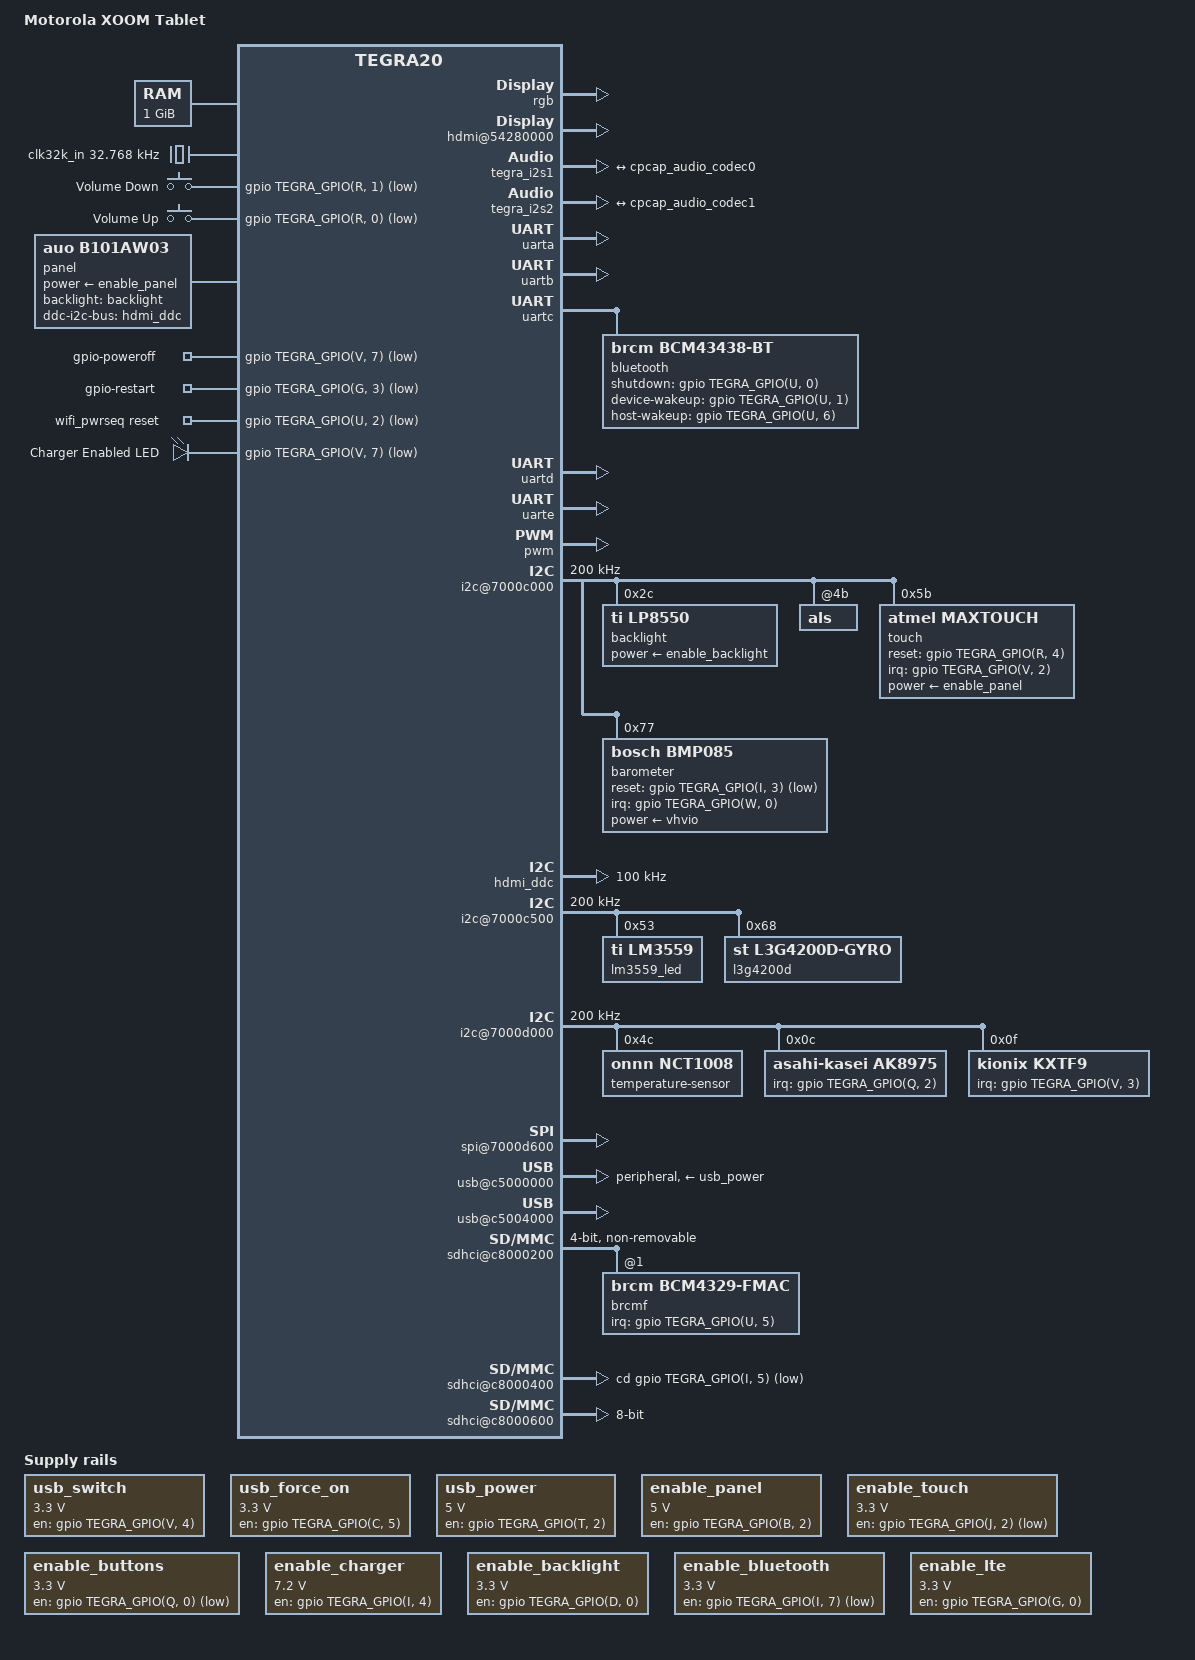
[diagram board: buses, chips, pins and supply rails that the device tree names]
// SPDX-License-Identifier: GPL-2.0
/dts-v1/;

#include <dt-bindings/input/input.h>
#include "tegra20.dtsi"
#include "tegra20-xoom-pinmux.dtsi"
#include "tegra20-xoom-cpcap.dtsi"

/ {
	model = "Motorola XOOM Tablet";
	compatible = "nvidia,xoom", "nvidia,tegra20";

	aliases {
		rtc0 = &cpcap_rtc;
		rtc1 = "/rtc@7000e000";
		serial0 = &uartb; /* DEBUG PORT? */
		serial1 = &uartc; /* Bluetooth */
		serial2 = &uarta;
		serial3 = &uartd;
		serial4 = &uarte;
	};

	chosen {
		stdout-path = "serial0:115200n8";
		bootargs = "earlyprintk=vga gpt gpt_sector=0x03b6efff console=tty0 root=/dev/mmcblk2p10 rootwait video=1280x800@60";
	};

	memory@0 {
		device_type = "memory";
		reg = <0x00000000 0x40000000>;
	};

	host1x@50000000 {

		dc@54200000 {
			rgb {
				status = "okay";
				nvidia,panel = <&panel>;
			};
		};

		hdmi@54280000 {
			status = "okay";

//			hdmi-supply = <&vdd_5v0_hdmi>;
//			vdd-supply = <&hdmi_vdd_reg>;
//			pll-supply = <&hdmi_pll_reg>;
//			nvidia,ddc-i2c-bus = <&hdmi_ddc>;
//			nvidia,hpd-gpio = <&gpio TEGRA_GPIO(N, 7) GPIO_ACTIVE_HIGH>;
		};
	};

	pinmux@70000014 {
		pinctrl-names = "default";
		pinctrl-0 = <&state_default>;

		state_default: pinmux {
			/* Pinmux Defaults are in the DTSI */
		};

		sdmmc3_default: pinmux {
			drive_sdmmc3 {
				nvidia,pins = "drive_sdmmc3";
			};
		};

		spi2_default: pinmux {
			spia {
				nvidia,pins = "spia";
			};

			spib {
				nvidia,pins = "spib";
			};

			spic {
				nvidia,pins = "spic";
			};

			spig {
				nvidia,pins = "spig";
			};
		};
	};

	tegra_ac97: ac97@70002000 {
		status = "okay";
	};

	tegra_i2s1: i2s@70002800 {
		status = "okay";

		mcbsp1_port: port {
			cpu_dai1: endpoint {
				dai-format = "i2s";
				remote-endpoint = <&cpcap_audio_codec0>;
				frame-master = <&cpcap_audio_codec0>;
				bitclock-master = <&cpcap_audio_codec0>;
			};
		};
	};

	tegra_i2s2: i2s@70002a00 {
		status = "okay";

		mcbsp2_port: port {
			cpu_dai2: endpoint {
				dai-format = "i2s";
				remote-endpoint = <&cpcap_audio_codec1>;
				frame-master = <&cpcap_audio_codec1>;
				bitclock-master = <&cpcap_audio_codec1>;
			};
		};
	};

	uarta: serial@70006000 {
		compatible = "nvidia,tegra20-hsuart";
		status = "okay";
	};

	uartb: serial@70006040 {
		/* This is the debug UART, wherever it is */
		compatible = "nvidia,tegra20-hsuart";
		status = "okay";
	};

	uartc: serial@70006200 {
		/* This is the bluetooth UART */
		compatible = "nvidia,tegra20-hsuart";
		status = "okay";
		bluetooth {
			compatible = "brcm,bcm43438-bt";
			shutdown-gpios = <&gpio TEGRA_GPIO(U, 0) GPIO_ACTIVE_HIGH>;
			device-wakeup-gpios = <&gpio TEGRA_GPIO(U, 1) GPIO_ACTIVE_HIGH>;
			host-wakeup-gpios = <&gpio TEGRA_GPIO(U, 6) GPIO_ACTIVE_HIGH>;
		};
	};

	uartd: serial@70006300 {
		compatible = "nvidia,tegra20-hsuart";
		status = "okay";
	};

	uarte: serial@70006400 {
		compatible = "nvidia,tegra20-hsuart";
		status = "okay";
	};

	pwm: pwm@7000a000 {
		status = "okay";
	};

	i2c@7000c000 {
		status = "okay";
		clock-frequency = <200000>;

		backlight: backlight@2c {
			compatible = "ti,lp8550";
			reg = <0x2c>;
			power-supply = <&enable_backlight>;

			bl-name = "backlight";
			dev-ctrl = /bits/ 8 <0x05>;
			init-brt = /bits/ 8 <0x50>;
			/* Current */
                        rom_a0h {
                                rom-addr = /bits/ 8 <0xa0>;
                                rom-val = /bits/ 8 <0xa1>;
                        };
			/* Boost Freq, En_pwm, I_ctrl, Temp_limit, Slope */
                        rom_a1h {
                                rom-addr = /bits/ 8 <0xa1>;
                                rom-val = /bits/ 8 <0x67>;
                        };
			/* Adaptive Speed */
                        rom_a2h {
                                rom-addr = /bits/ 8 <0xa2>;
                                rom-val = /bits/ 8 <0xbf>;
                        };
			/* UVLO */
                        rom_a3h {
                                rom-addr = /bits/ 8 <0xa3>;
                                rom-val = /bits/ 8 <0x3f>;
                        };
			/* PWM_Resolution */
                        rom_a4h {
                                rom-addr = /bits/ 8 <0xa4>;
                                rom-val = /bits/ 8 <0x08>;
                        };
			/* En_Vsync */
                        rom_a5h {
                                rom-addr = /bits/ 8 <0xa5>;
                                rom-val = /bits/ 8 <0xea>;
                        };
			/* PLL */
                        rom_a6h {
                                rom-addr = /bits/ 8 <0xa6>;
                                rom-val = /bits/ 8 <0x64>;
                        };
			/* PLL */
                        rom_a7h {
                                rom-addr = /bits/ 8 <0xa7>;
                                rom-val = /bits/ 8 <0x2a>;
                        };
		};

		als@4b {
			/*max9635 ALS, noted just for location */
//			reg = <0x4b>;
//			interrupts = <&gpio TEGRA_GPIO(V, 1) IRQ_TYPE_LEVEL_LOW>;
//			power-supply = <&vhvio>;
		};

		touch@5b {
			compatible = "atmel,maxtouch";
			reg = <0x5b>;
			interrupt-parent = <&gpio>;
			interrupts = <TEGRA_GPIO(V, 2) IRQ_TYPE_LEVEL_LOW>;
			reset-gpios = <&gpio TEGRA_GPIO(R, 4) GPIO_ACTIVE_HIGH>;
			power-supply = /* <&enable_touch>, */
					<&enable_panel>;
		};

		barometer@77 {
			/* BMP085 Barometer */
			compatible = "bosch,bmp085";
			reg = <0x77>;
			reset-gpios = <&gpio TEGRA_GPIO(I, 3) GPIO_ACTIVE_LOW>;
			interrupt-parent = <&gpio>;
			interrupts = <TEGRA_GPIO(W, 0) IRQ_TYPE_EDGE_RISING>;
			power-supply = <&vhvio>;
		};
	};

	hdmi_ddc: i2c@7000c400 {
		status = "okay";
		clock-frequency = <100000>;

//		nvhdcp1@3a {
//			reg = <0x3a>;
//		};

//		tegra_edid@50 {
//			reg = <0x50>;
//		};
	};

	i2c@7000c500 {
		status = "okay";
		clock-frequency = <200000>;
		/*Cameras are described here, but they are disabled because
		there is no csi driver for the Tegra chip*/

/*		dw9714@c {
			/* DW9714 Camera Coil Driver */
/*			compatible = "dongwoon,dw9714";
			reg = <0xc>;
			reset-gpios = <&gpio TEGRA_GPIO(I, 3) GPIO_ACTIVE_LOW>;
			interrupt-parent = <&gpio>;
			interrupts = <TEGRA_GPIO(W, 0) IRQ_TYPE_LEVEL_LOW>;
			vdd-supply = <&vcam>;
		};

		ov5645: ov5650@36 {
			/*Back Camera, ov5650 */
/*			reg = <0x36>;
			compatible = "ovti,ov5647";

			enable-gpios = <&gpio TEGRA_GPIO(I, 3) GPIO_ACTIVE_LOW>;
			reset-gpios = <&gpio TEGRA_GPIO(I, 3) GPIO_ACTIVE_LOW>;

/*			port {
				ov5645_ep: endpoint {
					clock-lanes = <1>;
					data-lanes = <0 2>;
					remote-endpoint = <&vi_csi>;
				};
			};
		};

		soc2030@3c {
			/*Front Camera, soc2030/mt9d113 */
/*			reg = <0x3c>;
		};
*/
		lm3559_led@53 {
			/*Back Camera Flash, lm3559 */
			compatible = "ti,lm3559";
			reg = <0x53>;
		};

		l3g4200d@68 {
			/*3 Axis Gyro, l3g4200d */
			reg = <0x68>;
			compatible = "st,l3g4200d-gyro";
		};
	};

	i2c@7000d000 {
		status = "okay";
		clock-frequency = <200000>;

		temperature-sensor@4c {
			compatible = "onnn,nct1008";
			reg = <0x4c>;
		};

		ak8975@c {
			/* Compass */
			compatible = "asahi-kasei,ak8975";
			reg = <0x0c>;
			interrupt-parent = <&gpio>;
			interrupts = <TEGRA_GPIO(Q, 2) IRQ_TYPE_LEVEL_LOW>;
/*			vdd-supply = <&ldo_3v3_gnss>;
*/		};

		kxtf9@f {
			/* Three Axis Accel */
			compatible = "kionix,kxtf9";
			reg = <0xf>;
			interrupt-parent = <&gpio>;
			interrupts = <TEGRA_GPIO(V, 3) IRQ_TYPE_LEVEL_LOW>;
/*			iovdd-supply = <&bar>;
			vdd-supply = <&baz>;
*/		};

/*		cap-prox@12 {
			/* Cap proxy sensor */
/*			compatible = "microchip,cap1106";
			reg = <0x12>;
		};
*/
/*		max8649@60 {
			/* Max8649 Step Down Converter CPU POWER */
/*			reg = <0x60>;
			compatible = "maxim,max8649";
			regulator-name = "vdd_cpu";
			regulator-min-microvolt = <770000>;
			regulator-max-microvolt = <1400000>;
			regulator-always-on;
			regulator-boot-on;
		};
*/	};

	spi@7000d600 {
		status = "okay";
		pinctrl-0 = <&spi2_default>;
		/* CPCAP device. */
	};

	kbc@7000e200 {
		status = "disabled";
	};

	pmc@7000e400 {
		nvidia,suspend-mode = <0>;
		nvidia,lp0-vec = <0x1e7f1020 8192>;
		nvidia,invert-interrupt;
		nvidia,cpu-pwr-good-time = <1500>;
		nvidia,cpu-pwr-off-time = <1500>;
		nvidia,core-pwr-good-time = <32382 32382>;
		nvidia,core-pwr-off-time = <15>;
		nvidia,core-power-req-active-high;
		nvidia,sys-clock-req-active-high;
	};

	memory-controller@7000f000 {
		emc-timings-0 {
			nvidia,ram-code = <0>;
			timing-80000000 {
				clock-frequency = <30000000>;

				nvidia,emem-configuration = <
					0x00000025 /* EMC_RC */
					0x000000ce /* EMC_RFC */
					0x0000001a /* EMC_RAS */
					0x00000009 /* EMC_RP */
					0x00000005 /* EMC_R2W */
					0x0000000d /* EMC_W2R */
					0x00000004 /* EMC_R2P */
					0x00000013 /* EMC_W2P */
					0x00000009 /* EMC_RD_RCD */
					0x00000009 /* EMC_WR_RCD */
					0x00000004 /* EMC_RRD */
					0x00000001 /* EMC_REXT */
					0x00000007 /* EMC_WDV */
					0x0000000a /* EMC_QUSE */
					0x00000009 /* EMC_QRST */
					0x0000000b /* EMC_QSAFE */
					0x00000011 /* EMC_RDV */
					0x00001820 /* EMC_REFRESH */
					0x00000000 /* EMC_BURST_REFRESH_NUM */
					0x00000004 /* EMC_PDEX2WR */
					0x00000004 /* EMC_PDEX2RD */
					0x00000005 /* EMC_PCHG2PDEN */
					0x00000008 /* EMC_ACT2PDEN */
					0x00000001 /* EMC_AR2PDEN */
					0x0000000e /* EMC_RW2PDEN */
					0x0000002a /* EMC_TXSR */
					0x00000003 /* EMC_TCKE */
					0x0000000f /* EMC_TFAW */
					0x00000007 /* EMC_TRPAB */
					0x00000005 /* EMC_TCLKSTABLE */
					0x00000002 /* EMC_TCLKSTOP */
					0x000004e0 /* EMC_TREFBW */
					0x00000005 /* EMC_QUSE_EXTRA */
					0x00000002 /* EMC_FBIO_CFG6 */
					0x00000000 /* EMC_ODT_WRITE */
					0x00000000 /* EMC_ODT_READ */
					0x00000282 /* EMC_FBIO_CFG5 */
					0xe04e048b /* EMC_CFG_DIG_DLL */
					0x007e0010 /* EMC_DLL_XFORM_DQS */
					0x00000000 /* EMC_DLL_XFORM_QUSE */
					0x00000000 /* EMC_ZCAL_REF_CNT */
					0x0000001b /* EMC_ZCAL_WAIT_CNT */
					0x00000000 /* EMC_AUTO_CAL_INTERVAL */
					0x00000000 /* EMC_CFG_CLKTRIM_0 */
					0x00000000 /* EMC_CFG_CLKTRIM_1 */
					0x00000000 /* EMC_CFG_CLKTRIM_2 */
				>;
			};
		};
	};

	fuse@7000f800 {
		vdd-supply = <&vfuse>;
	};

	usb@c5000000 {
		compatible = "nvidia,tegra20-udc";
		status = "okay";
		dr_mode = "peripheral";
//		dr_mode = "host";
		vbus-supply = <&usb_power>;
	};

	usb-phy@c5000000 {
		status = "okay";
/*		vbus-supply = <&usb_power>; */
	};

	usb@c5004000 {
		status = "okay";
	};

	usb-phy@c5004000 {
		status = "okay";
		nvidia,phy-reset-gpio = <&gpio TEGRA_GPIO(G, 2) GPIO_ACTIVE_LOW>;
	};

/*	usb@c5008000 {
		status = "okay";
	};

	usb-phy@c5008000 {
		status = "okay";
		mdm6600 {
			compatible = "motorola,mapphone-mdm6600";
			enable-gpios = <&gpio TEGRA_GPIO(S, 3) GPIO_ACTIVE_LOW>;
			power-gpios = <&gpio TEGRA_GPIO(S, 6) GPIO_ACTIVE_HIGH>;
			reset-gpios = <&gpio TEGRA_GPIO(Z, 1) GPIO_ACTIVE_HIGH>;
			motorola,mode-gpios = <&gpio TEGRA_GPIO(Q, 5) GPIO_ACTIVE_HIGH>,
					      <&gpio TEGRA_GPIO(S, 5) GPIO_ACTIVE_HIGH>;
			motorola,cmd-gpios = <&gpio TEGRA_GPIO(C, 1) GPIO_ACTIVE_HIGH>,
					     <&gpio TEGRA_GPIO(C, 6) GPIO_ACTIVE_HIGH>,
					     <&gpio TEGRA_GPIO(Q, 3) GPIO_ACTIVE_HIGH>;
			motorola,status-gpios = <&gpio TEGRA_GPIO(K, 3) GPIO_ACTIVE_HIGH>,
						<&gpio TEGRA_GPIO(K, 4) GPIO_ACTIVE_HIGH>,
						<&gpio TEGRA_GPIO(K, 2) GPIO_ACTIVE_HIGH>;
			#phy-cells = <0>;
		};
	};
*/
	sdhci@c8000000 {
/*		status = "okay";*/
	};

	sdhci@c8000200 {
		/* Wifi card */
		non-removable;
		bus-width = <4>;
		power-gpios = <&gpio TEGRA_GPIO(U, 4) GPIO_ACTIVE_HIGH>;
		mmc-pwrseq = <&wifi_pwrseq>;
		status = "okay";

		brcmf: wifi@1 {
			compatible = "brcm,bcm4329-fmac";
			interrupt-parent = <&gpio>;
			interrupts = <TEGRA_GPIO(U, 5) IRQ_TYPE_LEVEL_LOW>;
			interrupt-names = "host-wake";
		};

	};

	sdhci@c8000400 {
		/* SD Card */
		cd-gpios = <&gpio TEGRA_GPIO(I, 5) GPIO_ACTIVE_LOW>;
		status = "okay";
		pinctrl-0 = <&sdmmc3_default>;
	};

	sdhci@c8000600 {
		bus-width = <8>;
		status = "okay";
	};

	clocks {
		compatible = "simple-bus";
		#address-cells = <1>;
		#size-cells = <0>;

		clk32k_in: clock@0 {
			compatible = "fixed-clock";
			reg = <0>;
			#clock-cells = <0>;
			clock-frequency = <32768>;
		};
	};

	gpio-keys {
		compatible = "gpio-keys";

		volume-down {
			label = "Volume Down";
			gpios = <&gpio TEGRA_GPIO(R, 1) GPIO_ACTIVE_LOW>;
			linux,code = <KEY_VOLUMEDOWN>;
			debounce-interval = <10>;
		};

		volume-up {
			label = "Volume Up";
			gpios = <&gpio TEGRA_GPIO(R, 0) GPIO_ACTIVE_LOW>;
			linux,code = <KEY_VOLUMEUP>;
			debounce-interval = <10>;
		};
	};

	panel: panel {
		compatible = "auo,b101aw03", "simple-panel";

		power-supply = <&enable_panel>;
/*		enable-gpios = <&gpio TEGRA_GPIO(B, 2) GPIO_ACTIVE_HIGH>; */
		ddc-i2c-bus = <&hdmi_ddc>;

		backlight = <&backlight>;
	};

	regulators {
		compatible = "simple-bus";
		#address-cells = <1>;
		#size-cells = <0>;

/*		main_pwr_reg: regulator@0 {
			compatible = "regulator-fixed";
			reg = <0>;
			regulator-name = "main_pwr";
			regulator-min-microvolt = <5000000>;
			regulator-max-microvolt = <5000000>;
			regulator-always-on;
			regulator-boot-on;
			enable-active-high;
			gpio = <&gpio TEGRA_GPIO(V, 7) GPIO_ACTIVE_HIGH>;
		};
*/
		usb_switch: regulator@1 {
			compatible = "regulator-fixed";
			reg = <1>;
			regulator-name = "usb_switch";
			regulator-min-microvolt = <3300000>;
			regulator-max-microvolt = <3300000>;
			regulator-always-on;
			enable-active-high;
			gpio = <&gpio TEGRA_GPIO(V, 4) GPIO_ACTIVE_HIGH>;
		};

		usb_force_on: regulator@2 {
			compatible = "regulator-fixed";
			reg = <2>;
			regulator-name = "usb_force_on";
			regulator-min-microvolt = <3300000>;
			regulator-max-microvolt = <3300000>;
			enable-active-high;
			regulator-always-on;
			gpio = <&gpio TEGRA_GPIO(C, 5) GPIO_ACTIVE_HIGH>;
		};

		usb_power: regulator@3 {
			compatible = "regulator-fixed";
			reg = <3>;
			regulator-name = "usb_power";
			regulator-min-microvolt = <5000000>;
			regulator-max-microvolt = <5000000>;
			enable-active-high;
			regulator-always-on;
			gpio = <&gpio TEGRA_GPIO(T, 2) GPIO_ACTIVE_HIGH>;
/*			vin-supply = <&vusb>; */
		};

		enable_panel: regulator@4 {
			compatible = "regulator-fixed";
			reg = <4>;
			regulator-name = "enable_panel";
			regulator-min-microvolt = <5000000>;
			regulator-max-microvolt = <5000000>;
			enable-active-high;
			regulator-boot-on;
			regulator-always-on;
			gpio = <&gpio TEGRA_GPIO(B, 2) GPIO_ACTIVE_HIGH>;
		};

		enable_touch: regulator@5 {
			compatible = "regulator-fixed";
			reg = <5>;
			regulator-name = "enable_touch";
			regulator-min-microvolt = <3300000>;
			regulator-max-microvolt = <3300000>;
			enable-active-low;
			regulator-always-on;
			gpio = <&gpio TEGRA_GPIO(J, 2) GPIO_ACTIVE_LOW>;
		};

		enable_buttons: regulator@6 {
			compatible = "regulator-fixed";
			reg = <6>;
			regulator-name = "enable_buttons";
			regulator-min-microvolt = <3300000>;
			regulator-max-microvolt = <3300000>;
			enable-active-low;
			regulator-always-on;
			gpio = <&gpio TEGRA_GPIO(Q, 0) GPIO_ACTIVE_LOW>;
		};

		enable_charger: regulator@7 {
			compatible = "regulator-fixed";
			reg = <7>;
			regulator-name = "enable_charger";
			regulator-min-microvolt = <7200000>;
			regulator-max-microvolt = <7200000>;
			enable-active-high;
			regulator-always-on;
			gpio = <&gpio TEGRA_GPIO(I, 4) GPIO_ACTIVE_HIGH>;
		};

		enable_backlight: regulator@8 {
			compatible = "regulator-fixed";
			reg = <8>;
			regulator-name = "enable_backlight";
			regulator-min-microvolt = <3300000>;
			regulator-max-microvolt = <3300000>;
			enable-active-high;
			regulator-always-on;
			gpio = <&gpio TEGRA_GPIO(D, 0) GPIO_ACTIVE_HIGH>;
		};

		enable_bluetooth: regulator@9 {
			compatible = "regulator-fixed";
			reg = <9>;
			regulator-name = "enable_bluetooth";
			regulator-min-microvolt = <3300000>;
			regulator-max-microvolt = <3300000>;
			enable-active-low;
			regulator-always-on;
			startup-delay-us = <200000>;
			gpio = <&gpio TEGRA_GPIO(I, 7) GPIO_ACTIVE_LOW>;
		};

		enable_lte: regulator@10 {
			compatible = "regulator-fixed";
			reg = <10>;
			regulator-name = "enable_lte";
			regulator-min-microvolt = <3300000>;
			regulator-max-microvolt = <3300000>;
			enable-active-high;
			regulator-always-on;
			startup-delay-us = <200000>;
			gpio = <&gpio TEGRA_GPIO(G, 0) GPIO_ACTIVE_HIGH>;
		};
	};

/*	soundcard {
		compatible = "audio-graph-card";
		label = "Xoom Audio";

		simple-graph-card,widgets =
			"Speaker", "Earpiece",
			"Speaker", "Loudspeaker",
			"Headphone", "Headphone Jack",
			"Microphone", "Internal Mic";

		simple-graph-card,routing =
			"Earpiece", "EP",
			"Loudspeaker", "SPKR",
			"Headphone Jack", "HSL",
			"Headphone Jack", "HSR",
			"MICR", "Internal Mic";

		dais = <&cpcap_audio_codec0>, <&cpu_dai2>;
	};
*/
	sound {
		comatible = "simple-audio-card";

		simple-audio-card,widgets =
			"Speaker", "Earpiece",
			"Speaker", "Loudspeaker",
			"Headphone", "Headphone Jack",
			"Microphone", "Internal Mic";

		simple-audio-card,routing =
			"Earpiece", "EP",
			"Loudspeaker", "SPKR",
			"Headphone Jack", "HSL",
			"Headphone Jack", "HSR",
			"MICR", "Internal Mic";

		simple-audio-card,cpu {
			sound-dai = <&cpu_dai1>;
		};

		simple-audio-card,codec {
			sound-dai = <&cpcap_audio_codec0>;
			clocks = <&tegra_car TEGRA20_CLK_PLL_A>,
				 <&tegra_car TEGRA20_CLK_PLL_A_OUT0>,
				 <&tegra_car TEGRA20_CLK_CDEV1>;
			clock-names = "pll_a", "pll_a_out0", "mclk";
		};
	};

/*	sound {
		compatible = "nvidia,tegra-audio-trimslice";
		nvidia,i2s-controller = <&tegra_i2s1>;
		nvidia,audio-codec = <&cpcap_audio_codec0>;

		clocks = <&tegra_car TEGRA20_CLK_PLL_A>,
			 <&tegra_car TEGRA20_CLK_PLL_A_OUT0>,
			 <&tegra_car TEGRA20_CLK_CDEV1>;
		clock-names = "pll_a", "pll_a_out0", "mclk";
	};
*/

	gpio-poweroff {
		compatible = "gpio-poweroff";
		gpios = <&gpio TEGRA_GPIO(V, 7) GPIO_ACTIVE_LOW>;
		timeout-ms = <3000>;
	};

	gpio-restart {
		compatible = "gpio-restart";
		gpios = <&gpio TEGRA_GPIO(G, 3) GPIO_ACTIVE_LOW>;
		open-drain;
		priority = <254>;
		active-delay = <300>;
		inactive-delay = <100>;
		wait-delay = <3000>;
	};

	wifi_pwrseq: wifi_pwrseq {
		compatible = "mmc-pwrseq-simple";
		reset-gpios = <&gpio TEGRA_GPIO(U, 2) GPIO_ACTIVE_LOW>;
	};

	gpio-leds {
		compatible = "gpio-leds";
		charge_enable {
			compatible = "gpio-leds";
			label = "Charger Enabled LED";
			gpios = <&gpio TEGRA_GPIO(V, 7) GPIO_ACTIVE_LOW>;
			default-state = "on";
			linux,default-trigger = "heartbeat";
		};
	};
};
